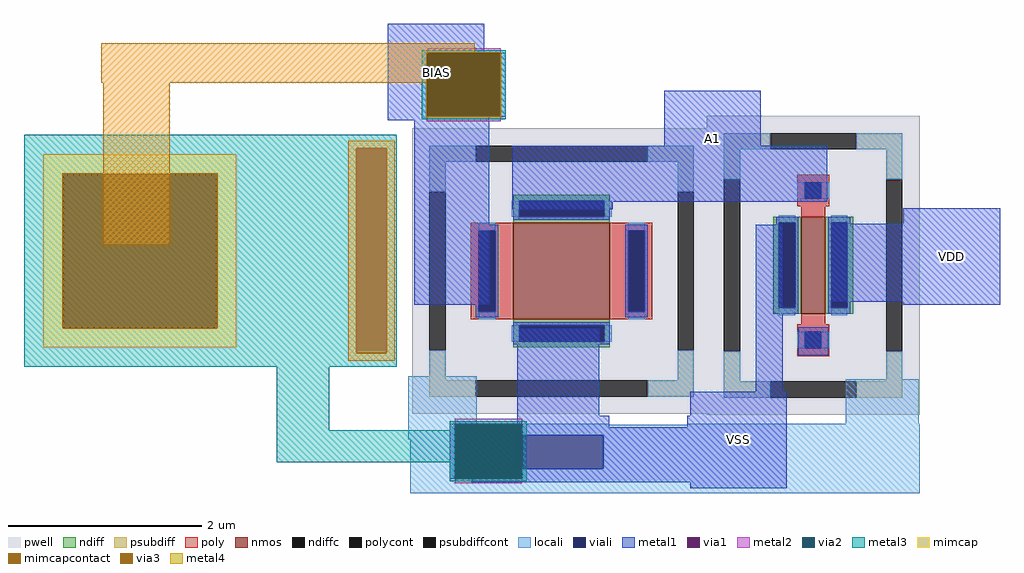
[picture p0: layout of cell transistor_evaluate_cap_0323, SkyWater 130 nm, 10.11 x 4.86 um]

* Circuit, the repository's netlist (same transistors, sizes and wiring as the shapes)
** sch_path: /home/isshu/tt_um_wakita_mux8onehot_pulldown_mosfet_fix/sch/transistor_evaluate_cap_0323.sch
.subckt transistor_evaluate_cap_0323 VSS A1 BIAS VDD
*.PININFO VDD:I VSS:I BIAS:I A1:I
XM4 VDD A1 VSS VSS sky130_fd_pr__nfet_01v8 L=0.25 W=1 nf=1 m=1
XM5 A1 BIAS VSS VSS sky130_fd_pr__nfet_01v8 L=1 W=1 nf=1 m=1
XC1 BIAS VSS sky130_fd_pr__cap_mim_m3_1 W=2 L=2 m=1
.ends

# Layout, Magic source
magic
tech sky130A
magscale 1 2
<< locali >>
rect 1220 -550 1362 -452
rect 2126 -550 2278 -458
rect 1220 -552 1636 -550
rect 1798 -552 2280 -550
rect 1220 -574 2280 -552
rect 1220 -582 1440 -574
rect 1224 -644 1440 -582
rect 1624 -644 2280 -574
rect 1224 -694 2280 -644
<< viali >>
rect 1440 -644 1624 -574
<< metal1 >>
rect 1178 218 1378 278
rect 1178 86 1258 218
rect 1412 86 1422 218
rect 1178 78 1388 86
rect 1232 -304 1388 78
rect 1750 26 1950 140
rect 1436 -90 2088 26
rect 1436 -106 1644 -90
rect 2246 -136 2446 -104
rect 1446 -534 1616 -352
rect 1940 -484 1996 -138
rect 2096 -298 2446 -136
rect 2246 -304 2446 -298
rect 2028 -408 2090 -350
rect 1804 -534 2004 -484
rect 1446 -550 1636 -534
rect 1306 -664 1316 -550
rect 1456 -558 1636 -550
rect 1798 -558 2004 -534
rect 1456 -574 2004 -558
rect 1624 -644 2004 -574
rect 1456 -664 2004 -644
rect 1352 -672 2004 -664
rect 1804 -684 2004 -672
<< via1 >>
rect 1258 86 1412 218
rect 1316 -574 1456 -550
rect 1316 -644 1440 -574
rect 1440 -644 1456 -574
rect 1316 -664 1456 -644
<< metal2 >>
rect 1258 218 1412 228
rect 1258 76 1412 86
rect 1316 -550 1456 -540
rect 1316 -674 1456 -664
<< via2 >>
rect 1258 86 1412 218
rect 1316 -664 1456 -550
<< metal3 >>
rect 1248 218 1422 223
rect 1248 86 1258 218
rect 1412 86 1422 218
rect 1248 81 1422 86
rect 948 -564 1056 -314
rect 1306 -550 1466 -545
rect 1306 -564 1316 -550
rect 948 -630 1316 -564
rect 1306 -664 1316 -630
rect 1456 -664 1466 -550
rect 1306 -669 1466 -664
<< via3 >>
rect 1258 86 1412 218
<< metal4 >>
rect 584 219 1358 238
rect 584 218 1413 219
rect 584 156 1258 218
rect 588 -180 726 156
rect 1257 86 1258 156
rect 1412 86 1413 218
rect 1257 85 1413 86
use sky130_fd_pr__cap_mim_m3_1_A5W7HU  XC1
transform 1 0 810 0 1 -192
box -386 -240 386 240
use sky130_fd_pr__nfet_01v8_HHPQSU  XM4
transform 1 0 2059 0 1 -222
box -221 -310 221 310
use sky130_fd_pr__nfet_01v8_2B38KW  XM5
transform 0 1 1538 -1 0 -234
box -296 -310 296 310
<< labels >>
flabel metal1 1750 -60 1950 140 0 FreeSans 256 0 0 0 A1
port 1 nsew
flabel metal1 2246 -304 2446 -104 0 FreeSans 256 0 0 0 VDD
port 3 nsew
flabel metal1 1804 -684 2004 -484 0 FreeSans 256 0 0 0 VSS
port 0 nsew
flabel metal1 1178 78 1378 278 0 FreeSans 256 0 0 0 BIAS
port 2 nsew
<< end >>

# cell sky130_fd_pr__cap_mim_m3_1_A5W7HU: kit device sky130_fd_pr__cap_mim_m3_1, w 2.0 l 2.0 val 9.52 carea 2.00 cperi 0.19 class capacitor nx 1 ny 1 dummy 0 square 0 lmin 2.00 wmin 2.00 lmax 30.0 wmax 30.0 dc 0 bconnect 1 tconnect 1 ccov 100

# cell sky130_fd_pr__nfet_01v8_HHPQSU: kit device sky130_fd_pr__nfet_01v8, w 1.0 l 0.25 m 1 nf 1 diffcov 100 polycov 100 guard 1 glc 1 grc 1 gtc 1 gbc 1 tbcov 100 rlcov 100 topc 1 botc 1 poverlap 0 doverlap 1 lmin 0.15 wmin 0.42 class mosfet compatible {sky130_fd_pr__nfet_01v8 sky130_fd_pr__nfet_01v8_lvt sky130_fd_bs_flash__special_sonosfet_star sky130_fd_pr__nfet_g5v0d10v5 sky130_fd_pr__nfet_05v0_nvt sky130_fd_pr__nfet_03v3_nvt} full_metal 1 viasrc 100 viadrn 100 viagate 100 viagb 0 viagr 0 viagl 0 viagt 0

# cell sky130_fd_pr__nfet_01v8_2B38KW: kit device sky130_fd_pr__nfet_01v8, w 1.0 l 1.0 m 1 nf 1 diffcov 100 polycov 100 guard 1 glc 1 grc 1 gtc 1 gbc 1 tbcov 100 rlcov 100 topc 1 botc 1 poverlap 0 doverlap 1 lmin 0.15 wmin 0.42 class mosfet compatible {sky130_fd_pr__nfet_01v8 sky130_fd_pr__nfet_01v8_lvt sky130_fd_bs_flash__special_sonosfet_star sky130_fd_pr__nfet_g5v0d10v5 sky130_fd_pr__nfet_05v0_nvt sky130_fd_pr__nfet_03v3_nvt} full_metal 1 viasrc 100 viadrn 100 viagate 100 viagb 0 viagr 0 viagl 0 viagt 0
